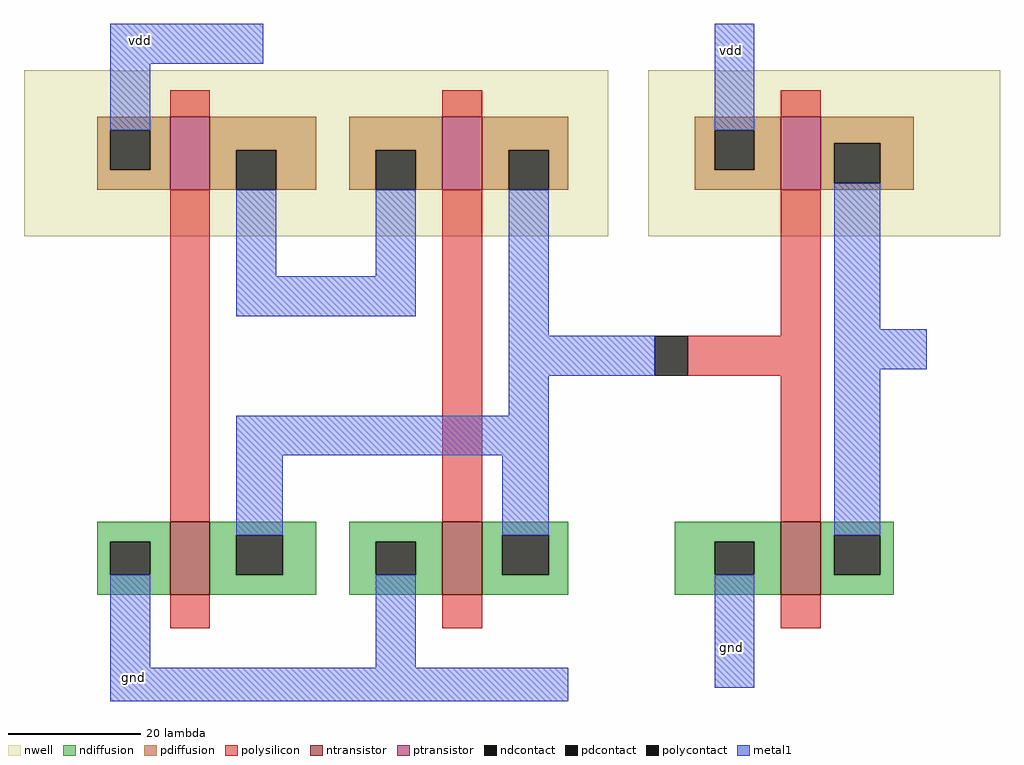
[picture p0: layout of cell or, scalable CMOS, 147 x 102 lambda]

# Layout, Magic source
magic
tech scmos
<< nwell >>
rect -53 0 35 25
rect 41 0 94 25
<< ntransistor >>
rect -31 -54 -25 -43
rect 10 -54 16 -43
rect 61 -54 67 -43
<< ptransistor >>
rect -31 7 -25 18
rect 10 7 16 18
rect 61 7 67 18
<< ndiffusion >>
rect -42 -46 -31 -43
rect -42 -51 -40 -46
rect -34 -51 -31 -46
rect -42 -54 -31 -51
rect -25 -45 -9 -43
rect -25 -51 -21 -45
rect -14 -51 -9 -45
rect -25 -54 -9 -51
rect -4 -46 10 -43
rect -4 -51 0 -46
rect 6 -51 10 -46
rect -4 -54 10 -51
rect 16 -45 29 -43
rect 16 -51 19 -45
rect 26 -51 29 -45
rect 16 -54 29 -51
rect 45 -46 61 -43
rect 45 -51 51 -46
rect 57 -51 61 -46
rect 45 -54 61 -51
rect 67 -45 78 -43
rect 67 -51 69 -45
rect 76 -51 78 -45
rect 67 -54 78 -51
<< pdiffusion >>
rect -42 16 -31 18
rect -42 10 -40 16
rect -34 10 -31 16
rect -42 7 -31 10
rect -25 13 -9 18
rect -25 7 -21 13
rect -15 7 -9 13
rect -4 13 10 18
rect -4 7 0 13
rect 6 7 10 13
rect 16 13 29 18
rect 16 7 20 13
rect 26 7 29 13
rect 48 16 61 18
rect 48 10 51 16
rect 57 10 61 16
rect 48 7 61 10
rect 67 14 81 18
rect 67 8 69 14
rect 76 8 81 14
rect 67 7 81 8
<< ndcontact >>
rect -40 -51 -34 -46
rect -21 -51 -14 -45
rect 0 -51 6 -46
rect 19 -51 26 -45
rect 51 -51 57 -46
rect 69 -51 76 -45
<< pdcontact >>
rect -40 10 -34 16
rect -21 7 -15 13
rect 0 7 6 13
rect 20 7 26 13
rect 51 10 57 16
rect 69 8 76 14
<< polysilicon >>
rect -31 18 -25 22
rect 10 18 16 22
rect 61 18 67 22
rect -31 -43 -25 7
rect 10 -43 16 7
rect 61 -15 67 7
rect 47 -21 67 -15
rect 61 -43 67 -21
rect -31 -59 -25 -54
rect 10 -59 16 -54
rect 61 -59 67 -54
<< polycontact >>
rect 42 -21 47 -15
<< metal1 >>
rect -40 26 -17 32
rect -40 16 -34 26
rect 51 16 57 32
rect -21 -6 -15 7
rect 0 -6 6 7
rect -21 -12 6 -6
rect 20 -15 26 7
rect 69 -14 76 8
rect 20 -21 42 -15
rect 69 -20 83 -14
rect 20 -27 26 -21
rect -21 -33 26 -27
rect -21 -45 -14 -33
rect 19 -45 26 -33
rect 69 -45 76 -20
rect -40 -65 -34 -51
rect 0 -65 6 -51
rect -40 -70 29 -65
rect 51 -68 57 -51
<< labels >>
rlabel metal1 -36 29 -35 30 5 vdd
rlabel metal1 -37 -67 -36 -66 1 gnd
rlabel metal1 53 -63 54 -61 1 gnd
rlabel metal1 53 27 54 29 5 vdd
<< end >>
